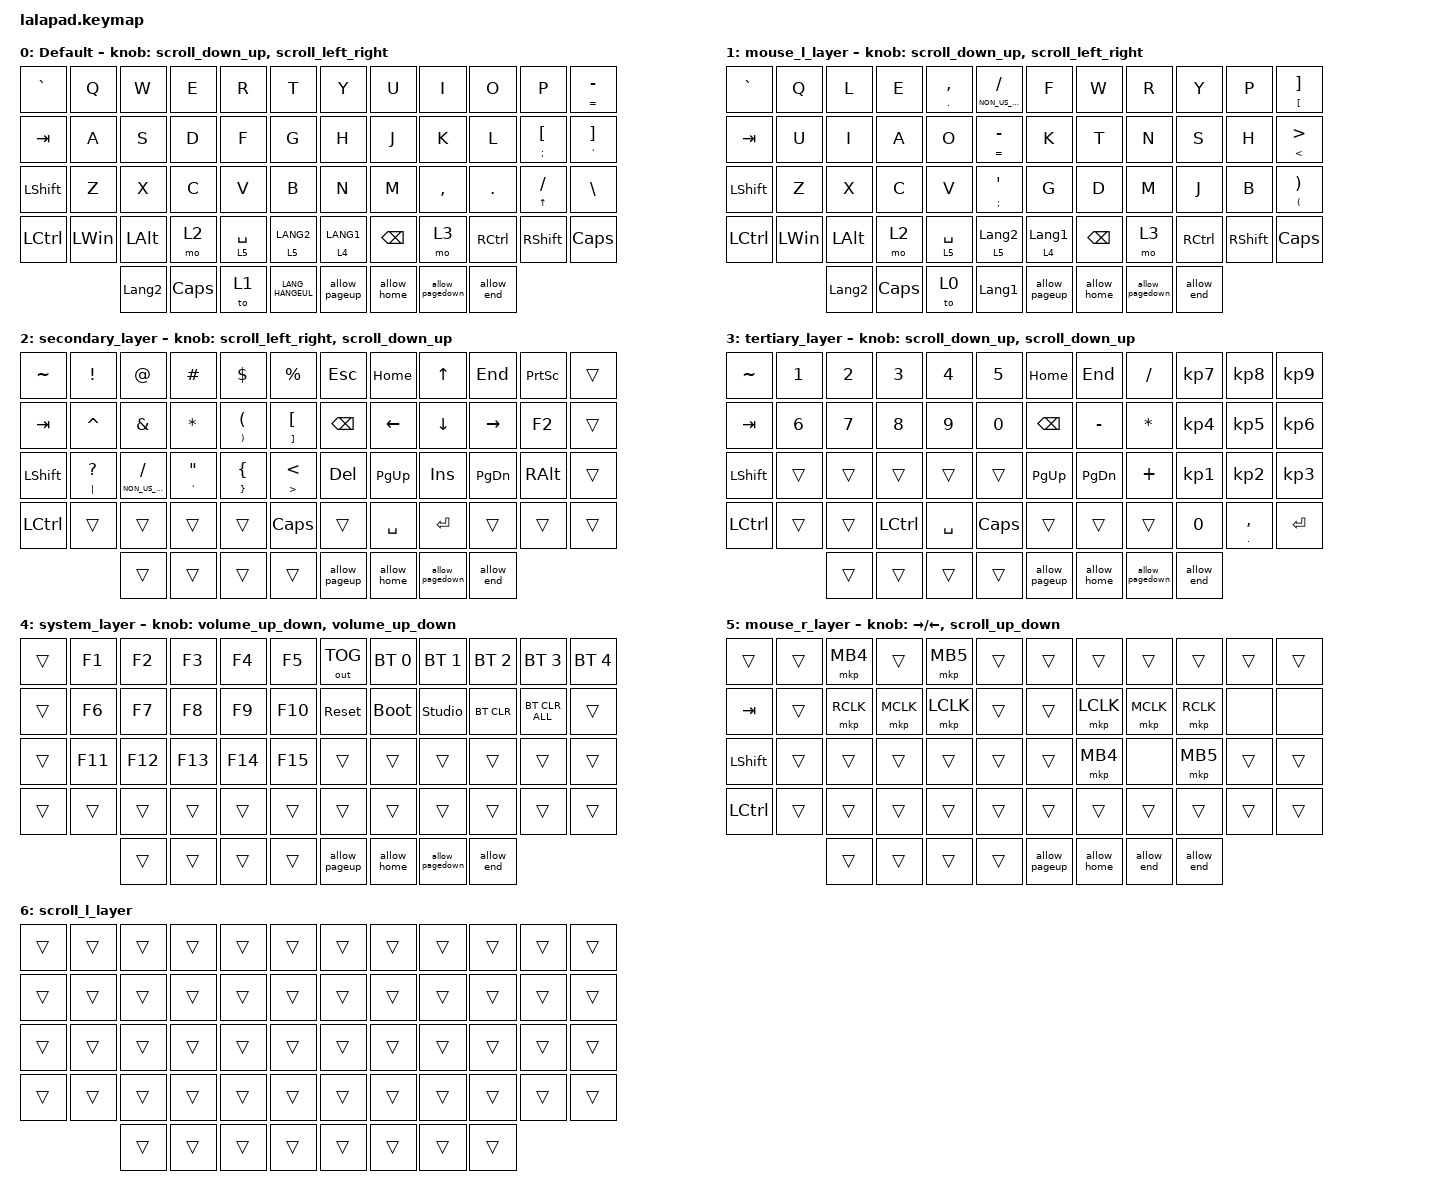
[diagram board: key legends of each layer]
#include <input/processors.dtsi>
#include <behaviors.dtsi>
#include <dt-bindings/zmk/bt.h>
#include <dt-bindings/zmk/keys.h>
#include <dt-bindings/zmk/outputs.h>
#include <dt-bindings/zmk/pointing.h>

#define DEFAULT_LAYER   0
#define SECONDARY_LAYER 1
#define TERTIARY_LAYER  2
#define SYSTEM_LAYER    3
#define MOUSE_R_LAYER   4
#define SCROLL_R_LAYER  5
#define MOUSE_L_LAYER   6
#define SCROLL_L_LAYER  7

// Mouse Scroll Value

#define ZMK_POINTING_DEFAULT_SCRL_VAL 100

// cirque trackpad input&layer control

&glidepoint_listener_R {
    input-processors =
        <&zip_xy_transform (INPUT_TRANSFORM_XY_SWAP | INPUT_TRANSFORM_X_INVERT | INPUT_TRANSFORM_Y_INVERT)>,
        <&zip_xy_scaler 5 2>,
        <&zip_temp_layer MOUSE_R_LAYER 500>;

    lowspeedmode {
        layers = <TERTIARY_LAYER SCROLL_R_LAYER>;
        input-processors =
            <&zip_xy_transform (INPUT_TRANSFORM_XY_SWAP | INPUT_TRANSFORM_X_INVERT | INPUT_TRANSFORM_Y_INVERT)>,
            <&zip_xy_scaler 3 5>,
            <&zip_temp_layer MOUSE_R_LAYER 500>;
    };

    scroller {
        layers = <SCROLL_R_LAYER>;
        input-processors =
            <&zip_xy_to_scroll_mapper>,
            <&zip_scroll_transform (INPUT_TRANSFORM_XY_SWAP | INPUT_TRANSFORM_Y_INVERT)>,
            <&zip_scroll_scaler 1 8>;
    };
};

&glidepoint_listener_L {
    input-processors =
        <&zip_xy_transform (INPUT_TRANSFORM_XY_SWAP | INPUT_TRANSFORM_X_INVERT | INPUT_TRANSFORM_Y_INVERT)>,
        <&zip_xy_scaler 3 2>,
        <&zip_temp_layer MOUSE_L_LAYER 500>;

    lowspeedmode {
        layers = <SECONDARY_LAYER>;
        input-processors =
            <&zip_xy_transform (INPUT_TRANSFORM_XY_SWAP | INPUT_TRANSFORM_X_INVERT | INPUT_TRANSFORM_Y_INVERT)>,
            <&zip_xy_scaler 3 4>,
            <&zip_temp_layer MOUSE_L_LAYER 500>;
    };

    scroller {
        layers = <SCROLL_L_LAYER>;
        input-processors =
            <&zip_xy_to_scroll_mapper>,
            <&zip_scroll_transform (INPUT_TRANSFORM_XY_SWAP | INPUT_TRANSFORM_Y_INVERT)>,
            <&zip_scroll_scaler 1 6>;
    };
};

/ {
    behaviors {
        // Encoder to Mouse Scroll

        scroll_up_down: sensor_scroll_up_down {
            compatible = "zmk,behavior-sensor-rotate";
            #sensor-binding-cells = <0>;
            bindings = <&msc SCRL_UP>, <&msc SCRL_DOWN>;

            tap-ms = <20>;
            label = "SCROLL_UP_DOWN";
        };

        scroll_down_up: sensor_scroll_down_up {
            compatible = "zmk,behavior-sensor-rotate";
            #sensor-binding-cells = <0>;
            bindings = <&msc SCRL_DOWN>, <&msc SCRL_UP>;

            tap-ms = <20>;
            label = "SCROLL_DOWN_UP";
        };

        scroll_left_right: sensor_scroll_left_right {
            compatible = "zmk,behavior-sensor-rotate";
            #sensor-binding-cells = <0>;
            bindings = <&msc SCRL_LEFT>, <&msc SCRL_RIGHT>;

            tap-ms = <20>;
            label = "SCROLL_LEFT_RIGHT";
        };

        scroll_right_left: sensor_scroll_right_left {
            compatible = "zmk,behavior-sensor-rotate";
            #sensor-binding-cells = <0>;
            bindings = <&msc SCRL_RIGHT>, <&msc SCRL_LEFT>;

            tap-ms = <20>;
            label = "SCROLL_RIGHT_LEFT";
        };

        volume_up_down: sensor_volume_up_down {
            compatible = "zmk,behavior-sensor-rotate";
            #sensor-binding-cells = <0>;
            bindings = <&kp C_VOLUME_UP>, <&kp C_VOLUME_DOWN>;

            tap-ms = <20>;
            label = "VOLUME_UP_DOWN";
        };

        dot_comma: dot_comma {
            compatible = "zmk,behavior-mod-morph";
            #binding-cells = <0>;
            bindings = <&kp KP_DOT>, <&kp COMMA>;

            mods = <(MOD_LSFT|MOD_RSFT)>;
            label = "DOT_COMMA";
        };

        pls_minus: pls_minus {
            compatible = "zmk,behavior-mod-morph";
            #binding-cells = <0>;
            bindings = <&kp PLUS>, <&kp MINUS>;

            mods = <(MOD_LSFT|MOD_RSFT)>;
            label = "PLS_MINUS";
        };

        allow_pageup: allow_pageup {
            compatible = "zmk,behavior-mod-morph";
            #binding-cells = <0>;
            bindings = <&kp UP>, <&kp PAGE_UP>;

            mods = <(MOD_LCTL|MOD_RCTL)>;
            label = "ALLOW_PAGEUP";
        };

        allow_pagedown: allow_pagedown {
            compatible = "zmk,behavior-mod-morph";
            #binding-cells = <0>;
            bindings = <&kp DOWN>, <&kp PAGE_DOWN>;

            mods = <(MOD_LCTL|MOD_RCTL)>;
            label = "ALLOW_PAGEDOWN";
        };

        allow_home: allow_home {
            compatible = "zmk,behavior-mod-morph";
            #binding-cells = <0>;
            bindings = <&kp LEFT>, <&kp HOME>;

            mods = <(MOD_LCTL|MOD_RCTL)>;
            label = "ALLOW_HOME";
        };

        allow_end: allow_end {
            compatible = "zmk,behavior-mod-morph";
            #binding-cells = <0>;
            bindings = <&kp RIGHT>, <&kp END>;

            mods = <(MOD_LCTL|MOD_RCTL)>;
            label = "ALLOW_END";
        };

        mt2: mod_tap2 {
            compatible = "zmk,behavior-hold-tap";
            #binding-cells = <2>;
            flavor = "tap-preferred";
            tapping-term-ms = <200>;
            quick-tap-ms = <200>;
            require-prior-idle-ms = <125>;
            bindings = <&kp>, <&kp>;
        };
    };

    keymap {
        compatible = "zmk,keymap";

        DEFAULT_LAYER {
            display-name = "Default";
            sensor-bindings = <&scroll_down_up>, <&scroll_left_right>;

            bindings = <
&kp GRAVE  &kp Q         &kp W           &kp E     &kp R        &kp T             &kp Y          &kp U          &kp I            &kp O       &kp P            &mt EQUAL MINUS
&kp TAB    &kp A         &kp S           &kp D     &kp F        &kp G             &kp H          &kp J          &kp K            &kp L       &mt2 SEMI LBKT   &mt2 SQT RBKT
&kp LSHFT  &kp Z         &kp X           &kp C     &kp V        &kp B             &kp N          &kp M          &kp COMMA        &kp PERIOD  &mt2 UP SLASH    &kp BSLH
&kp LCTRL  &kp LEFT_WIN  &kp LEFT_ALT    &mo 2     &lt 5 SPACE  &lt 5 LANG2       &lt 4 LANG1    &kp BACKSPACE  &mo 3            &kp RCTRL   &kp RIGHT_SHIFT  &kp CAPSLOCK
                         &kp LANGUAGE_2  &kp CAPS  &to 1        &kp LANG_HANGEUL  &allow_pageup  &allow_home    &allow_pagedown  &allow_end
            >;
        };

        MOUSE_L_LAYER {
            display-name = "mouse_l_layer";
            bindings = <
&kp GRAVE       &kp Q         &kp L           &kp E         &mt PERIOD COMMA  &mt NON_US_BACKSLASH SLASH  &kp F             &kp W          &kp R            &kp Y       &kp P            &mt LEFT_BRACKET RIGHT_BRACKET
&kp TAB         &kp U         &kp I           &kp A         &kp O             &mt EQUAL MINUS             &kp K             &kp T          &kp N            &kp S       &kp H            &mt LESS_THAN GREATER_THAN
&kp LEFT_SHIFT  &kp Z         &kp X           &kp C         &kp V             &mt SEMICOLON SQT           &kp G             &kp D          &kp M            &kp J       &kp B            &mt LEFT_PARENTHESIS RPAR
&kp LCTRL       &kp LEFT_WIN  &kp LEFT_ALT    &mo 2         &lt 5 SPACE       &lt 5 LANGUAGE_2            &lt 4 LANGUAGE_1  &kp BACKSPACE  &mo 3            &kp RCTRL   &kp RIGHT_SHIFT  &kp CAPS
                              &kp LANGUAGE_2  &kp CAPSLOCK  &to 0             &kp LANGUAGE_1              &allow_pageup     &allow_home    &allow_pagedown  &allow_end
            >;

            sensor-bindings = <&scroll_down_up>, <&scroll_left_right>;
        };

        SECONDARY_LAYER {
            display-name = "secondary_layer";
            sensor-bindings = <&scroll_left_right>, <&scroll_down_up>;

            bindings = <
&kp TILDE       &kp EXCLAMATION    &kp AT_SIGN                 &kp HASH               &kp DOLLAR                              &kp PERCENT                     &kp ESC        &kp HOME     &kp UP_ARROW     &kp END        &kp PRINTSCREEN  &trans
&kp TAB         &kp CARET          &kp AMPERSAND               &kp ASTERISK           &mt RIGHT_PARENTHESIS LEFT_PARENTHESIS  &mt RIGHT_BRACKET LEFT_BRACKET  &kp BACKSPACE  &kp LEFT     &kp DOWN_ARROW   &kp RIGHT      &kp F2           &trans
&kp LEFT_SHIFT  &mt PIPE QUESTION  &mt NON_US_BACKSLASH SLASH  &mt SQT DOUBLE_QUOTES  &mt RIGHT_BRACE LEFT_BRACE              &mt GREATER_THAN LESS_THAN      &kp DEL        &kp PAGE_UP  &kp INS          &kp PAGE_DOWN  &kp RIGHT_ALT    &trans
&kp LCTRL       &trans             &trans                      &trans                 &trans                                  &kp CAPS                        &trans         &kp SPACE    &kp ENTER        &trans         &trans           &trans
                                   &trans                      &trans                 &trans                                  &trans                          &allow_pageup  &allow_home  &allow_pagedown  &allow_end
            >;
        };

        TERTIARY_LAYER {
            display-name = "tertiary_layer";
            bindings = <
&kp TILDE       &kp NUMBER_1  &kp NUMBER_2  &kp NUMBER_3  &kp NUMBER_4  &kp N5    &kp HOME       &kp END        &kp SLASH        &kp KP_N7        &kp KP_NUMBER_8    &kp KP_NUMBER_9
&kp TAB         &kp NUMBER_6  &kp N7        &kp N8        &kp N9        &kp N0    &kp BACKSPACE  &kp MINUS      &kp ASTERISK     &kp KP_NUMBER_4  &kp KP_NUMBER_5    &kp KP_NUMBER_6
&kp LEFT_SHIFT  &trans        &trans        &trans        &trans        &trans    &kp PAGE_UP    &kp PAGE_DOWN  &kp PLUS         &kp KP_NUMBER_1  &kp KP_NUMBER_2    &kp KP_NUMBER_3
&kp LCTRL       &trans        &trans        &kp LCTRL     &kp SPACE     &kp CAPS  &trans         &trans         &trans           &kp N0           &mt2 PERIOD COMMA  &kp ENTER
                              &trans        &trans        &trans        &trans    &allow_pageup  &allow_home    &allow_pagedown  &allow_end
            >;

            sensor-bindings = <&scroll_down_up>, <&scroll_down_up>;
        };

        SYSTEM_LAYER {
            display-name = "system_layer";
            sensor-bindings = <&volume_up_down>, <&volume_up_down>;

            bindings = <
&trans  &kp F1   &kp F2   &kp F3   &kp F4   &kp F5   &out OUT_TOG   &bt BT_SEL 0  &bt BT_SEL 1     &bt BT_SEL 2  &bt BT_SEL 3    &bt BT_SEL 4
&trans  &kp F6   &kp F7   &kp F8   &kp F9   &kp F10  &sys_reset     &bootloader   &studio_unlock   &bt BT_CLR    &bt BT_CLR_ALL  &trans
&trans  &kp F11  &kp F12  &kp F13  &kp F14  &kp F15  &trans         &trans        &trans           &trans        &trans          &trans
&trans  &trans   &trans   &trans   &trans   &trans   &trans         &trans        &trans           &trans        &trans          &trans
                 &trans   &trans   &trans   &trans   &allow_pageup  &allow_home   &allow_pagedown  &allow_end
            >;
        };

        MOUSE_R_LAYER {
            display-name = "mouse_r_layer";
            bindings = <
&trans          &trans  &mkp MB4   &trans     &mkp MB5   &trans  &trans         &trans       &trans      &trans      &trans  &trans
&kp TAB         &trans  &mkp RCLK  &mkp MCLK  &mkp LCLK  &trans  &trans         &mkp LCLK    &mkp MCLK   &mkp RCLK   &none   &none
&kp LEFT_SHIFT  &trans  &trans     &trans     &trans     &trans  &trans         &mkp MB4     &none       &mkp MB5    &trans  &trans
&kp LCTRL       &trans  &trans     &trans     &trans     &trans  &trans         &trans       &trans      &trans      &trans  &trans
                        &trans     &trans     &trans     &trans  &allow_pageup  &allow_home  &allow_end  &allow_end
            >;

            sensor-bindings = <&inc_dec_kp RIGHT LEFT>, <&scroll_up_down>;
        };

        SCROLL_L_LAYER {
            display-name = "scroll_l_layer";
            bindings = <
&trans  &trans  &trans  &trans  &trans  &trans  &trans  &trans  &trans  &trans  &trans  &trans
&trans  &trans  &trans  &trans  &trans  &trans  &trans  &trans  &trans  &trans  &trans  &trans
&trans  &trans  &trans  &trans  &trans  &trans  &trans  &trans  &trans  &trans  &trans  &trans
&trans  &trans  &trans  &trans  &trans  &trans  &trans  &trans  &trans  &trans  &trans  &trans
                &trans  &trans  &trans  &trans  &trans  &trans  &trans  &trans
            >;
        };
    };
};
